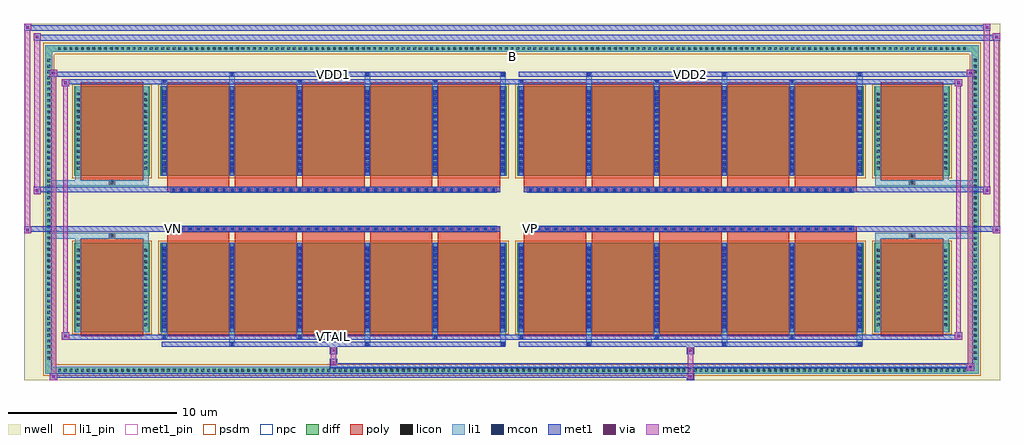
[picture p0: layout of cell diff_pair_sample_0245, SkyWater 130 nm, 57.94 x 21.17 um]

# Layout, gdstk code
import gdstk
lib = gdstk.Library(unit=1e-6, precision=5e-09)
def R(c, l, rs):  # rectangles x0, y0, x1, y1
    for r in rs: c.add(gdstk.rectangle(r[:2], r[2:], *l))
def A(c, l, x, y, w, h, nx, ny, dx, dy):  # array of equal rectangles
    R(c, l, [(x+i*dx, y+j*dy, x+i*dx+w, y+j*dy+h) for i in range(nx) for j in range(ny)])
def P(c, l, *ps):  # polygons
    for p in ps: c.add(gdstk.Polygon(p, *l))
nwell = (64, 20)
diff = (65, 20)
poly = (66, 20)
licon = (66, 44)
li1_pin = (67, 16)
li1 = (67, 20)
mcon = (67, 44)
met1_pin = (68, 16)
met1 = (68, 20)
via = (68, 44)
met2 = (69, 20)
psdm = (94, 20)
npc = (95, 20)

diff_pair_sample_0245 = lib.new_cell('diff_pair_sample_0245')
R(diff_pair_sample_0245, nwell, [(-28.97,-10.15,28.97,11.02), (-26.29,-8.34,-0.01,-0.8), (0.01,-8.34,26.29,-0.8), (-26.29,0.8,-0.01,8.34), (0.01,0.8,26.29,8.34)])
A(diff_pair_sample_0245, diff, -27.065, -9.75, 0.41, 0.41, 159, 2, 0.34, 19.09)
A(diff_pair_sample_0245, diff, -27.7, -9.045, 0.41, 0.41, 1, 53, 0, 0.34)
A(diff_pair_sample_0245, diff, 27.29, -9.045, 0.41, 0.41, 1, 53, 0, 0.34)
R(diff_pair_sample_0245, diff, [(-27.065,-9.75,27.065,-9.34), (-27.7,-9.045,-27.29,9.045), (27.29,-9.045,27.7,9.045), (-25.98,-7.295,-21.51,-1.985), (-20.87,-7.295,-0.32,-1.985), (0.32,-7.295,20.87,-1.985), (21.51,-7.295,25.98,-1.985), (-25.98,1.985,-21.51,7.295), (-20.87,1.985,-0.32,7.295), (0.32,1.985,20.87,7.295), (21.51,1.985,25.98,7.295), (-27.065,9.34,27.065,9.75)])
P(diff_pair_sample_0245, diff, [(27.7,9.75),(-27.7,9.75),(-27.7,-9.34),(-27.29,-9.34),(-27.29,9.34),(27.29,9.34),(27.29,-9.34),(-27.29,-9.34),(-27.7,-9.34),(-27.7,-9.75),(27.7,-9.75)])
A(diff_pair_sample_0245, poly, -20.48, -7.545, 3.69, 5.81, 5, 2, 4.02, 9.28)
A(diff_pair_sample_0245, poly, 0.71, -7.545, 3.69, 5.81, 5, 2, 4.02, 9.28)
A(diff_pair_sample_0245, poly, -20.48, -1.735, 3.69, 0.405, 5, 2, 4.02, 3.065)
A(diff_pair_sample_0245, poly, 0.71, -1.735, 3.69, 0.405, 5, 2, 4.02, 3.065)
A(diff_pair_sample_0245, poly, -20.26, -1.33, 0.33, 0.33, 39, 2, 0.5, 2.33)
A(diff_pair_sample_0245, poly, 0.93, -1.33, 0.33, 0.33, 39, 2, 0.5, 2.33)
R(diff_pair_sample_0245, poly, [(-25.59,-7.545,-21.9,-1.735), (21.9,-7.545,25.59,-1.735), (-23.91,-1.735,-23.58,-1.405), (-23.91,-1.735,-23.58,-1.405), (23.58,-1.735,23.91,-1.405), (23.58,-1.735,23.91,-1.405), (-20.48,-1.33,-0.71,-1), (0.71,-1.33,20.48,-1), (-20.48,1,-0.71,1.33), (0.71,1,20.48,1.33), (-23.91,1.405,-23.58,1.735), (-23.91,1.405,-23.58,1.735), (23.58,1.405,23.91,1.735), (23.58,1.405,23.91,1.735), (-25.59,1.735,-21.9,7.545), (21.9,1.735,25.59,7.545)])
A(diff_pair_sample_0245, licon, -26.945, -9.63, 0.17, 0.17, 159, 2, 0.34, 19.09)
A(diff_pair_sample_0245, licon, -27.58, -8.925, 0.17, 0.17, 1, 53, 0, 0.34)
A(diff_pair_sample_0245, licon, 27.41, -8.925, 0.17, 0.17, 1, 53, 0, 0.34)
A(diff_pair_sample_0245, licon, -25.84, -6.935, 0.17, 0.17, 1, 14, 0, 0.34)
A(diff_pair_sample_0245, licon, -21.82, -6.935, 0.17, 0.17, 1, 14, 0, 0.34)
A(diff_pair_sample_0245, licon, -20.73, -6.935, 0.17, 0.17, 6, 14, 4.02, 0.34)
A(diff_pair_sample_0245, licon, 0.46, -6.935, 0.17, 0.17, 6, 14, 4.02, 0.34)
A(diff_pair_sample_0245, licon, 21.65, -6.935, 0.17, 0.17, 1, 14, 0, 0.34)
A(diff_pair_sample_0245, licon, 25.67, -6.935, 0.17, 0.17, 1, 14, 0, 0.34)
A(diff_pair_sample_0245, licon, -20.18, -1.25, 0.17, 0.17, 39, 2, 0.5, 2.33)
A(diff_pair_sample_0245, licon, 1.01, -1.25, 0.17, 0.17, 39, 2, 0.5, 2.33)
A(diff_pair_sample_0245, licon, -25.84, 2.345, 0.17, 0.17, 1, 14, 0, 0.34)
A(diff_pair_sample_0245, licon, -21.82, 2.345, 0.17, 0.17, 1, 14, 0, 0.34)
A(diff_pair_sample_0245, licon, -20.73, 2.345, 0.17, 0.17, 6, 14, 4.02, 0.34)
A(diff_pair_sample_0245, licon, 0.46, 2.345, 0.17, 0.17, 6, 14, 4.02, 0.34)
A(diff_pair_sample_0245, licon, 21.65, 2.345, 0.17, 0.17, 1, 14, 0, 0.34)
A(diff_pair_sample_0245, licon, 25.67, 2.345, 0.17, 0.17, 1, 14, 0, 0.34)
R(diff_pair_sample_0245, licon, [(-23.83,-1.655,-23.66,-1.485), (23.66,-1.655,23.83,-1.485), (-23.83,1.485,-23.66,1.655), (23.66,1.485,23.83,1.655)])
R(diff_pair_sample_0245, li1_pin, [(-0.25,8.84,0.25,9.34)])
A(diff_pair_sample_0245, li1, -27.025, -9.71, 0.33, 0.33, 159, 2, 0.34, 19.09)
A(diff_pair_sample_0245, li1, -27.66, -9.005, 0.33, 0.33, 1, 53, 0, 0.34)
A(diff_pair_sample_0245, li1, 27.33, -9.005, 0.33, 0.33, 1, 53, 0, 0.34)
A(diff_pair_sample_0245, li1, -16.79, -8.1, 0.33, 0.805, 3, 2, 8.04, 15.395)
A(diff_pair_sample_0245, li1, -16.71, -8.1, 0.17, 0.17, 3, 2, 8.04, 16.03)
A(diff_pair_sample_0245, li1, 4.4, -8.1, 0.33, 0.805, 3, 2, 8.04, 15.395)
A(diff_pair_sample_0245, li1, 4.48, -8.1, 0.17, 0.17, 3, 2, 8.04, 16.03)
A(diff_pair_sample_0245, li1, -20.81, -7.67, 0.33, 0.375, 3, 2, 8.04, 14.965)
A(diff_pair_sample_0245, li1, -20.73, -7.67, 0.17, 0.17, 3, 2, 8.04, 15.17)
A(diff_pair_sample_0245, li1, 0.38, -7.67, 0.33, 0.375, 3, 2, 8.04, 14.965)
A(diff_pair_sample_0245, li1, 0.46, -7.67, 0.17, 0.17, 3, 2, 8.04, 15.17)
A(diff_pair_sample_0245, li1, -20.81, -7.295, 0.33, 5.31, 6, 2, 4.02, 9.28)
A(diff_pair_sample_0245, li1, 0.38, -7.295, 0.33, 5.31, 6, 2, 4.02, 9.28)
A(diff_pair_sample_0245, li1, -20.73, -7.065, 0.17, 0.17, 6, 14, 4.02, 0.36)
A(diff_pair_sample_0245, li1, -20.73, -7.065, 0.17, 4.85, 6, 2, 4.02, 9.28)
A(diff_pair_sample_0245, li1, 0.46, -7.065, 0.17, 0.17, 6, 14, 4.02, 0.36)
A(diff_pair_sample_0245, li1, 0.46, -7.065, 0.17, 4.85, 6, 2, 4.02, 9.28)
A(diff_pair_sample_0245, li1, -25.92, -7.015, 0.33, 0.33, 1, 14, 0, 0.34)
A(diff_pair_sample_0245, li1, -21.9, -7.015, 0.33, 0.33, 1, 14, 0, 0.34)
A(diff_pair_sample_0245, li1, -20.81, -7.015, 0.33, 0.33, 6, 14, 4.02, 0.34)
A(diff_pair_sample_0245, li1, 0.38, -7.015, 0.33, 0.33, 6, 14, 4.02, 0.34)
A(diff_pair_sample_0245, li1, 21.57, -7.015, 0.33, 0.33, 1, 14, 0, 0.34)
A(diff_pair_sample_0245, li1, 25.59, -7.015, 0.33, 0.33, 1, 14, 0, 0.34)
A(diff_pair_sample_0245, li1, -20.26, -1.33, 0.33, 0.33, 39, 2, 0.5, 2.33)
A(diff_pair_sample_0245, li1, 0.93, -1.33, 0.33, 0.33, 39, 2, 0.5, 2.33)
A(diff_pair_sample_0245, li1, -20.73, 2.215, 0.17, 0.17, 6, 14, 4.02, 0.36)
A(diff_pair_sample_0245, li1, 0.46, 2.215, 0.17, 0.17, 6, 14, 4.02, 0.36)
A(diff_pair_sample_0245, li1, -25.92, 2.265, 0.33, 0.33, 1, 14, 0, 0.34)
A(diff_pair_sample_0245, li1, -21.9, 2.265, 0.33, 0.33, 1, 14, 0, 0.34)
A(diff_pair_sample_0245, li1, -20.81, 2.265, 0.33, 0.33, 6, 14, 4.02, 0.34)
A(diff_pair_sample_0245, li1, 0.38, 2.265, 0.33, 0.33, 6, 14, 4.02, 0.34)
A(diff_pair_sample_0245, li1, 21.57, 2.265, 0.33, 0.33, 1, 14, 0, 0.34)
A(diff_pair_sample_0245, li1, 25.59, 2.265, 0.33, 0.33, 1, 14, 0, 0.34)
R(diff_pair_sample_0245, li1, [(-27.7,-9.75,-27.29,-9.34), (-27.7,-9.75,-27.29,-9.34), (-27.29,-9.75,27.29,-9.34), (27.29,-9.75,27.7,-9.34), (27.29,-9.75,27.7,-9.34), (-27.7,-9.34,-27.29,9.34), (27.29,-9.34,27.7,9.34), (-25.92,-7.295,-25.59,-1.985), (-21.9,-7.295,-21.57,-1.985), (21.57,-7.295,21.9,-1.985), (25.59,-7.295,25.92,-1.985), (-25.92,-1.985,-25.59,-1.405), (-21.9,-1.985,-21.57,-1.405), (21.57,-1.985,21.9,-1.405), (25.59,-1.985,25.92,-1.405), (-27.7,-1.735,-23.91,-1.405), (-25.92,-1.735,-23.91,-1.405), (-23.91,-1.735,-23.58,-1.405), (-23.58,-1.735,-21.57,-1.405), (21.57,-1.735,23.58,-1.405), (23.58,-1.735,23.91,-1.405), (23.58,-1.735,27.7,-1.405), (23.91,-1.735,25.92,-1.405), (-27.7,1.405,-23.91,1.735), (-25.92,1.405,-23.91,1.735), (-25.92,1.405,-25.59,1.985), (-23.91,1.405,-23.58,1.735), (-23.58,1.405,-21.57,1.735), (-21.9,1.405,-21.57,1.985), (21.57,1.405,23.58,1.735), (21.57,1.405,21.9,1.985), (23.58,1.405,23.91,1.735), (23.58,1.405,27.7,1.735), (23.91,1.405,25.92,1.735), (25.59,1.405,25.92,1.985), (-25.92,1.985,-25.59,7.295), (-21.9,1.985,-21.57,7.295), (21.57,1.985,21.9,7.295), (25.59,1.985,25.92,7.295), (-27.7,9.34,-27.29,9.75), (-27.7,9.34,-27.29,9.75), (-27.29,9.34,27.29,9.75), (27.29,9.34,27.7,9.75), (27.29,9.34,27.7,9.75)])
A(diff_pair_sample_0245, mcon, -16.71, -8.1, 0.17, 0.17, 3, 2, 8.04, 16.03)
A(diff_pair_sample_0245, mcon, 4.48, -8.1, 0.17, 0.17, 3, 2, 8.04, 16.03)
A(diff_pair_sample_0245, mcon, -20.73, -7.67, 0.17, 0.17, 3, 2, 8.04, 15.17)
A(diff_pair_sample_0245, mcon, 0.46, -7.67, 0.17, 0.17, 3, 2, 8.04, 15.17)
A(diff_pair_sample_0245, mcon, -20.73, -7.065, 0.17, 0.17, 6, 14, 4.02, 0.36)
A(diff_pair_sample_0245, mcon, 0.46, -7.065, 0.17, 0.17, 6, 14, 4.02, 0.36)
A(diff_pair_sample_0245, mcon, -20.18, -1.25, 0.17, 0.17, 39, 2, 0.5, 2.33)
A(diff_pair_sample_0245, mcon, 1.01, -1.25, 0.17, 0.17, 39, 2, 0.5, 2.33)
A(diff_pair_sample_0245, mcon, -20.73, 2.215, 0.17, 0.17, 6, 14, 4.02, 0.36)
A(diff_pair_sample_0245, mcon, 0.46, 2.215, 0.17, 0.17, 6, 14, 4.02, 0.36)
R(diff_pair_sample_0245, met1_pin, [(-10.73,-7.71,-10.46,-7.44), (-20.23,-1.29,-19.96,-1.02), (0.96,-1.29,1.23,-1.02), (-10.73,7.89,-10.46,8.16), (10.46,7.89,10.73,8.16)])
A(diff_pair_sample_0245, met1, -16.77, -8.16, 0.29, 0.29, 3, 2, 8.04, 16.03)
A(diff_pair_sample_0245, met1, 4.42, -8.16, 0.29, 0.29, 3, 2, 8.04, 16.03)
A(diff_pair_sample_0245, met1, -20.79, -7.73, 0.29, 0.29, 3, 2, 8.04, 15.17)
A(diff_pair_sample_0245, met1, 0.4, -7.73, 0.29, 0.29, 3, 2, 8.04, 15.17)
A(diff_pair_sample_0245, met1, -20.79, -7.295, 0.29, 5.31, 6, 2, 4.02, 9.28)
A(diff_pair_sample_0245, met1, 0.4, -7.295, 0.29, 5.31, 6, 2, 4.02, 9.28)
A(diff_pair_sample_0245, met1, -20.79, -7.125, 0.29, 0.29, 6, 14, 4.02, 0.36)
A(diff_pair_sample_0245, met1, 0.4, -7.125, 0.29, 0.29, 6, 14, 4.02, 0.36)
A(diff_pair_sample_0245, met1, -20.24, -1.31, 0.29, 0.29, 39, 2, 0.5, 2.33)
A(diff_pair_sample_0245, met1, 0.95, -1.31, 0.29, 0.29, 39, 2, 0.5, 2.33)
A(diff_pair_sample_0245, met1, -20.79, 2.155, 0.29, 0.29, 6, 14, 4.02, 0.36)
A(diff_pair_sample_0245, met1, 0.4, 2.155, 0.29, 0.29, 6, 14, 4.02, 0.36)
R(diff_pair_sample_0245, met1, [(-27.43,-10.15,-27,-9.72), (10.38,-10.15,10.81,-9.72), (-27.43,-10.01,10.81,-9.72), (27,-9.58,27.43,-9.15), (-10.81,-9.44,27.43,-9.15), (-10.81,-9.3,-10.38,-8.87), (-10.81,-8.59,-10.38,-8.16), (10.38,-8.59,10.81,-8.16), (-20.79,-8.16,-0.4,-7.87), (0.4,-8.16,20.79,-7.87), (-26.72,-7.73,-26.29,-7.3), (-26.72,-7.73,-20.79,-7.44), (-20.79,-7.73,-0.4,-7.44), (-0.4,-7.73,0.4,-7.44), (0.4,-7.73,20.79,-7.44), (20.79,-7.73,26.72,-7.44), (26.29,-7.73,26.72,-7.3), (-28.97,-1.43,-28.54,-1), (28.54,-1.43,28.97,-1), (-28.97,-1.33,-0.71,-1), (-20.48,-1.33,-0.71,-1), (0.71,-1.33,20.48,-1), (0.71,-1.33,28.97,-1), (-28.4,0.9,-27.97,1.33), (27.97,0.9,28.4,1.33), (-28.4,1,-20.48,1.33), (-20.48,1,-0.71,1.33), (0.71,1,20.48,1.33), (20.48,1,28.4,1.33), (-26.72,7.3,-26.29,7.73), (26.29,7.3,26.72,7.73), (-26.72,7.44,-20.79,7.73), (-20.79,7.44,-0.4,7.73), (-0.4,7.44,0.4,7.73), (0.4,7.44,20.79,7.73), (20.79,7.44,26.72,7.73), (-27.43,7.87,-27,8.3), (-27.43,7.87,-20.79,8.16), (-20.79,7.87,-0.4,8.16), (0.4,7.87,20.79,8.16), (20.79,7.87,27.43,8.16), (27,7.87,27.43,8.3), (-28.4,10.02,-27.97,10.45), (-28.4,10.02,-26.29,10.35), (-26.29,10.02,26.29,10.35), (26.29,10.02,28.97,10.35), (28.54,10.02,28.97,10.45), (-28.97,10.59,-28.54,11.02), (-28.97,10.59,-26.29,10.92), (-26.29,10.59,26.29,10.92), (26.29,10.59,28.4,10.92), (27.97,10.59,28.4,11.02)])
R(diff_pair_sample_0245, via, [(-27.29,-10.01,-27.14,-9.86), (10.52,-10.01,10.67,-9.86), (27.14,-9.44,27.29,-9.29), (-10.67,-9.16,-10.52,-9.01), (-10.67,-8.45,-10.52,-8.3), (10.52,-8.45,10.67,-8.3), (-26.58,-7.59,-26.43,-7.44), (26.43,-7.59,26.58,-7.44), (-28.83,-1.29,-28.68,-1.14), (28.68,-1.29,28.83,-1.14), (-28.26,1.04,-28.11,1.19), (28.11,1.04,28.26,1.19), (-26.58,7.44,-26.43,7.59), (26.43,7.44,26.58,7.59), (-27.29,8.01,-27.14,8.16), (27.14,8.01,27.29,8.16), (-28.26,10.16,-28.11,10.31), (28.68,10.16,28.83,10.31), (-28.83,10.73,-28.68,10.88), (28.11,10.73,28.26,10.88)])
R(diff_pair_sample_0245, met2, [(-27.43,-10.15,-27,-9.72), (-27.36,-10.15,-27.07,8.3), (-27.07,-10.15,-27,-9.72), (-27.38,-10.1,-27.05,-9.77), (10.43,-10.1,10.76,-9.77), (10.43,-9.77,10.76,-8.54), (27,-9.58,27.43,-9.15), (27.07,-9.58,27.36,8.3), (27.36,-9.58,27.43,-9.15), (27.05,-9.53,27.38,-9.2), (-10.76,-9.25,-10.43,-8.92), (-10.76,-8.92,-10.43,-8.54), (-10.76,-8.54,-10.43,-8.21), (10.43,-8.54,10.76,-8.21), (-26.72,-7.73,-26.29,-7.3), (-26.65,-7.73,-26.36,7.73), (-26.36,-7.73,-26.29,-7.3), (26.29,-7.73,26.72,-7.3), (26.36,-7.73,26.65,7.73), (26.65,-7.73,26.72,-7.3), (-26.67,-7.68,-26.34,-7.35), (26.34,-7.68,26.67,-7.35), (-28.97,-1.43,-28.54,-1), (-28.92,-1.43,-28.59,11.02), (-28.59,-1.43,-28.54,-1), (28.54,-1.43,28.97,-1), (28.59,-1.43,28.92,10.45), (28.92,-1.43,28.97,-1), (-28.92,-1.38,-28.59,-1.05), (28.59,-1.38,28.92,-1.05), (-28.4,0.9,-27.97,1.33), (-28.35,0.9,-28.02,10.45), (-28.02,0.9,-27.97,1.33), (27.97,0.9,28.4,1.33), (28.02,0.9,28.35,11.02), (28.35,0.9,28.4,1.33), (-28.35,0.95,-28.02,1.28), (28.02,0.95,28.35,1.28), (-26.72,7.3,-26.29,7.73), (-26.36,7.3,-26.29,7.73), (26.29,7.3,26.72,7.73), (26.65,7.3,26.72,7.73), (-26.67,7.35,-26.34,7.68), (26.34,7.35,26.67,7.68), (-27.43,7.87,-27,8.3), (-27.07,7.87,-27,8.3), (27,7.87,27.43,8.3), (27.36,7.87,27.43,8.3), (-27.38,7.92,-27.05,8.25), (27.05,7.92,27.38,8.25), (-28.4,10.02,-27.97,10.45), (-28.02,10.02,-27.97,10.45), (28.54,10.02,28.97,10.45), (28.92,10.02,28.97,10.45), (-28.35,10.07,-28.02,10.4), (28.59,10.07,28.92,10.4), (-28.97,10.59,-28.54,11.02), (-28.59,10.59,-28.54,11.02), (27.97,10.59,28.4,11.02), (28.35,10.59,28.4,11.02), (-28.92,10.64,-28.59,10.97), (28.02,10.64,28.35,10.97)])
R(diff_pair_sample_0245, psdm, [(-26.11,-7.425,-21.38,-1.855), (-21,-7.425,-0.19,-1.855), (0.19,-7.425,21,-1.855), (21.38,-7.425,26.11,-1.855), (-26.11,1.855,-21.38,7.425), (-21,1.855,-0.19,7.425), (0.19,1.855,21,7.425), (21.38,1.855,26.11,7.425)])
P(diff_pair_sample_0245, psdm, [(27.83,9.88),(-27.83,9.88),(-27.83,-9.21),(-27.16,-9.21),(-27.16,9.21),(27.16,9.21),(27.16,-9.21),(-27.16,-9.21),(-27.83,-9.21),(-27.83,-9.88),(27.83,-9.88)])
A(diff_pair_sample_0245, npc, -20.28, -1.35, 0.37, 0.37, 39, 2, 0.5, 2.33)
A(diff_pair_sample_0245, npc, 0.91, -1.35, 0.37, 0.37, 39, 2, 0.5, 2.33)
R(diff_pair_sample_0245, npc, [(-23.93,-1.755,-23.56,-1.385), (23.56,-1.755,23.93,-1.385), (-20.28,-1.35,-19.41,-0.98), (-20.28,-1.35,-19.41,-0.98), (-19.78,-1.35,-18.91,-0.98), (-19.78,-1.35,-18.91,-0.98), (-19.28,-1.35,-18.41,-0.98), (-19.28,-1.35,-18.41,-0.98), (-18.78,-1.35,-17.91,-0.98), (-18.78,-1.35,-17.91,-0.98), (-18.28,-1.35,-17.41,-0.98), (-18.28,-1.35,-17.41,-0.98), (-17.78,-1.35,-16.91,-0.98), (-17.78,-1.35,-16.91,-0.98), (-17.28,-1.35,-16.41,-0.98), (-17.28,-1.35,-16.41,-0.98), (-16.78,-1.35,-15.91,-0.98), (-16.78,-1.35,-15.91,-0.98), (-16.28,-1.35,-15.41,-0.98), (-16.28,-1.35,-15.41,-0.98), (-15.78,-1.35,-14.91,-0.98), (-15.78,-1.35,-14.91,-0.98), (-15.28,-1.35,-14.41,-0.98), (-15.28,-1.35,-14.41,-0.98), (-14.78,-1.35,-13.91,-0.98), (-14.78,-1.35,-13.91,-0.98), (-14.28,-1.35,-13.41,-0.98), (-14.28,-1.35,-13.41,-0.98), (-13.78,-1.35,-12.91,-0.98), (-13.78,-1.35,-12.91,-0.98), (-13.28,-1.35,-12.41,-0.98), (-13.28,-1.35,-12.41,-0.98), (-12.78,-1.35,-11.91,-0.98), (-12.78,-1.35,-11.91,-0.98), (-12.28,-1.35,-11.41,-0.98), (-12.28,-1.35,-11.41,-0.98), (-11.78,-1.35,-10.91,-0.98), (-11.78,-1.35,-10.91,-0.98), (-11.28,-1.35,-10.41,-0.98), (-11.28,-1.35,-10.41,-0.98), (-10.78,-1.35,-9.91,-0.98), (-10.78,-1.35,-9.91,-0.98), (-10.28,-1.35,-9.41,-0.98), (-10.28,-1.35,-9.41,-0.98), (-9.78,-1.35,-8.91,-0.98), (-9.78,-1.35,-8.91,-0.98), (-9.28,-1.35,-8.41,-0.98), (-9.28,-1.35,-8.41,-0.98), (-8.78,-1.35,-7.91,-0.98), (-8.78,-1.35,-7.91,-0.98), (-8.28,-1.35,-7.41,-0.98), (-8.28,-1.35,-7.41,-0.98), (-7.78,-1.35,-6.91,-0.98), (-7.78,-1.35,-6.91,-0.98), (-7.28,-1.35,-6.41,-0.98), (-7.28,-1.35,-6.41,-0.98), (-6.78,-1.35,-5.91,-0.98), (-6.78,-1.35,-5.91,-0.98), (-6.28,-1.35,-5.41,-0.98), (-6.28,-1.35,-5.41,-0.98), (-5.78,-1.35,-4.91,-0.98), (-5.78,-1.35,-4.91,-0.98), (-5.28,-1.35,-4.41,-0.98), (-5.28,-1.35,-4.41,-0.98), (-4.78,-1.35,-3.91,-0.98), (-4.78,-1.35,-3.91,-0.98), (-4.28,-1.35,-3.41,-0.98), (-4.28,-1.35,-3.41,-0.98), (-3.78,-1.35,-2.91,-0.98), (-3.78,-1.35,-2.91,-0.98), (-3.28,-1.35,-2.41,-0.98), (-3.28,-1.35,-2.41,-0.98), (-2.78,-1.35,-1.91,-0.98), (-2.78,-1.35,-1.91,-0.98), (-2.28,-1.35,-1.41,-0.98), (-2.28,-1.35,-1.41,-0.98), (-1.78,-1.35,-0.91,-0.98), (-1.78,-1.35,-0.91,-0.98), (0.91,-1.35,1.78,-0.98), (0.91,-1.35,1.78,-0.98), (1.41,-1.35,2.28,-0.98), (1.41,-1.35,2.28,-0.98), (1.91,-1.35,2.78,-0.98), (1.91,-1.35,2.78,-0.98), (2.41,-1.35,3.28,-0.98), (2.41,-1.35,3.28,-0.98), (2.91,-1.35,3.78,-0.98), (2.91,-1.35,3.78,-0.98), (3.41,-1.35,4.28,-0.98), (3.41,-1.35,4.28,-0.98), (3.91,-1.35,4.78,-0.98), (3.91,-1.35,4.78,-0.98), (4.41,-1.35,5.28,-0.98), (4.41,-1.35,5.28,-0.98), (4.91,-1.35,5.78,-0.98), (4.91,-1.35,5.78,-0.98), (5.41,-1.35,6.28,-0.98), (5.41,-1.35,6.28,-0.98), (5.91,-1.35,6.78,-0.98), (5.91,-1.35,6.78,-0.98), (6.41,-1.35,7.28,-0.98), (6.41,-1.35,7.28,-0.98), (6.91,-1.35,7.78,-0.98), (6.91,-1.35,7.78,-0.98), (7.41,-1.35,8.28,-0.98), (7.41,-1.35,8.28,-0.98), (7.91,-1.35,8.78,-0.98), (7.91,-1.35,8.78,-0.98), (8.41,-1.35,9.28,-0.98), (8.41,-1.35,9.28,-0.98), (8.91,-1.35,9.78,-0.98), (8.91,-1.35,9.78,-0.98), (9.41,-1.35,10.28,-0.98), (9.41,-1.35,10.28,-0.98), (9.91,-1.35,10.78,-0.98), (9.91,-1.35,10.78,-0.98), (10.41,-1.35,11.28,-0.98), (10.41,-1.35,11.28,-0.98), (10.91,-1.35,11.78,-0.98), (10.91,-1.35,11.78,-0.98), (11.41,-1.35,12.28,-0.98), (11.41,-1.35,12.28,-0.98), (11.91,-1.35,12.78,-0.98), (11.91,-1.35,12.78,-0.98), (12.41,-1.35,13.28,-0.98), (12.41,-1.35,13.28,-0.98), (12.91,-1.35,13.78,-0.98), (12.91,-1.35,13.78,-0.98), (13.41,-1.35,14.28,-0.98), (13.41,-1.35,14.28,-0.98), (13.91,-1.35,14.78,-0.98), (13.91,-1.35,14.78,-0.98), (14.41,-1.35,15.28,-0.98), (14.41,-1.35,15.28,-0.98), (14.91,-1.35,15.78,-0.98), (14.91,-1.35,15.78,-0.98), (15.41,-1.35,16.28,-0.98), (15.41,-1.35,16.28,-0.98), (15.91,-1.35,16.78,-0.98), (15.91,-1.35,16.78,-0.98), (16.41,-1.35,17.28,-0.98), (16.41,-1.35,17.28,-0.98), (16.91,-1.35,17.78,-0.98), (16.91,-1.35,17.78,-0.98), (17.41,-1.35,18.28,-0.98), (17.41,-1.35,18.28,-0.98), (17.91,-1.35,18.78,-0.98), (17.91,-1.35,18.78,-0.98), (18.41,-1.35,19.28,-0.98), (18.41,-1.35,19.28,-0.98), (18.91,-1.35,19.78,-0.98), (18.91,-1.35,19.78,-0.98), (19.41,-1.35,20.28,-0.98), (19.41,-1.35,20.28,-0.98), (-20.28,0.98,-19.41,1.35), (-20.28,0.98,-19.41,1.35), (-19.78,0.98,-18.91,1.35), (-19.78,0.98,-18.91,1.35), (-19.28,0.98,-18.41,1.35), (-19.28,0.98,-18.41,1.35), (-18.78,0.98,-17.91,1.35), (-18.78,0.98,-17.91,1.35), (-18.28,0.98,-17.41,1.35), (-18.28,0.98,-17.41,1.35), (-17.78,0.98,-16.91,1.35), (-17.78,0.98,-16.91,1.35), (-17.28,0.98,-16.41,1.35), (-17.28,0.98,-16.41,1.35), (-16.78,0.98,-15.91,1.35), (-16.78,0.98,-15.91,1.35), (-16.28,0.98,-15.41,1.35), (-16.28,0.98,-15.41,1.35), (-15.78,0.98,-14.91,1.35), (-15.78,0.98,-14.91,1.35), (-15.28,0.98,-14.41,1.35), (-15.28,0.98,-14.41,1.35), (-14.78,0.98,-13.91,1.35), (-14.78,0.98,-13.91,1.35), (-14.28,0.98,-13.41,1.35), (-14.28,0.98,-13.41,1.35), (-13.78,0.98,-12.91,1.35), (-13.78,0.98,-12.91,1.35), (-13.28,0.98,-12.41,1.35), (-13.28,0.98,-12.41,1.35), (-12.78,0.98,-11.91,1.35), (-12.78,0.98,-11.91,1.35), (-12.28,0.98,-11.41,1.35), (-12.28,0.98,-11.41,1.35), (-11.78,0.98,-10.91,1.35), (-11.78,0.98,-10.91,1.35), (-11.28,0.98,-10.41,1.35), (-11.28,0.98,-10.41,1.35), (-10.78,0.98,-9.91,1.35), (-10.78,0.98,-9.91,1.35), (-10.28,0.98,-9.41,1.35), (-10.28,0.98,-9.41,1.35), (-9.78,0.98,-8.91,1.35), (-9.78,0.98,-8.91,1.35), (-9.28,0.98,-8.41,1.35), (-9.28,0.98,-8.41,1.35), (-8.78,0.98,-7.91,1.35), (-8.78,0.98,-7.91,1.35), (-8.28,0.98,-7.41,1.35), (-8.28,0.98,-7.41,1.35), (-7.78,0.98,-6.91,1.35), (-7.78,0.98,-6.91,1.35), (-7.28,0.98,-6.41,1.35), (-7.28,0.98,-6.41,1.35), (-6.78,0.98,-5.91,1.35), (-6.78,0.98,-5.91,1.35), (-6.28,0.98,-5.41,1.35), (-6.28,0.98,-5.41,1.35), (-5.78,0.98,-4.91,1.35), (-5.78,0.98,-4.91,1.35), (-5.28,0.98,-4.41,1.35), (-5.28,0.98,-4.41,1.35), (-4.78,0.98,-3.91,1.35), (-4.78,0.98,-3.91,1.35), (-4.28,0.98,-3.41,1.35), (-4.28,0.98,-3.41,1.35), (-3.78,0.98,-2.91,1.35), (-3.78,0.98,-2.91,1.35), (-3.28,0.98,-2.41,1.35), (-3.28,0.98,-2.41,1.35), (-2.78,0.98,-1.91,1.35), (-2.78,0.98,-1.91,1.35), (-2.28,0.98,-1.41,1.35), (-2.28,0.98,-1.41,1.35), (-1.78,0.98,-0.91,1.35), (-1.78,0.98,-0.91,1.35), (0.91,0.98,1.78,1.35), (0.91,0.98,1.78,1.35), (1.41,0.98,2.28,1.35), (1.41,0.98,2.28,1.35), (1.91,0.98,2.78,1.35), (1.91,0.98,2.78,1.35), (2.41,0.98,3.28,1.35), (2.41,0.98,3.28,1.35), (2.91,0.98,3.78,1.35), (2.91,0.98,3.78,1.35), (3.41,0.98,4.28,1.35), (3.41,0.98,4.28,1.35), (3.91,0.98,4.78,1.35), (3.91,0.98,4.78,1.35), (4.41,0.98,5.28,1.35), (4.41,0.98,5.28,1.35), (4.91,0.98,5.78,1.35), (4.91,0.98,5.78,1.35), (5.41,0.98,6.28,1.35), (5.41,0.98,6.28,1.35), (5.91,0.98,6.78,1.35), (5.91,0.98,6.78,1.35), (6.41,0.98,7.28,1.35), (6.41,0.98,7.28,1.35), (6.91,0.98,7.78,1.35), (6.91,0.98,7.78,1.35), (7.41,0.98,8.28,1.35), (7.41,0.98,8.28,1.35), (7.91,0.98,8.78,1.35), (7.91,0.98,8.78,1.35), (8.41,0.98,9.28,1.35), (8.41,0.98,9.28,1.35), (8.91,0.98,9.78,1.35), (8.91,0.98,9.78,1.35), (9.41,0.98,10.28,1.35), (9.41,0.98,10.28,1.35), (9.91,0.98,10.78,1.35), (9.91,0.98,10.78,1.35), (10.41,0.98,11.28,1.35), (10.41,0.98,11.28,1.35), (10.91,0.98,11.78,1.35), (10.91,0.98,11.78,1.35), (11.41,0.98,12.28,1.35), (11.41,0.98,12.28,1.35), (11.91,0.98,12.78,1.35), (11.91,0.98,12.78,1.35), (12.41,0.98,13.28,1.35), (12.41,0.98,13.28,1.35), (12.91,0.98,13.78,1.35), (12.91,0.98,13.78,1.35), (13.41,0.98,14.28,1.35), (13.41,0.98,14.28,1.35), (13.91,0.98,14.78,1.35), (13.91,0.98,14.78,1.35), (14.41,0.98,15.28,1.35), (14.41,0.98,15.28,1.35), (14.91,0.98,15.78,1.35), (14.91,0.98,15.78,1.35), (15.41,0.98,16.28,1.35), (15.41,0.98,16.28,1.35), (15.91,0.98,16.78,1.35), (15.91,0.98,16.78,1.35), (16.41,0.98,17.28,1.35), (16.41,0.98,17.28,1.35), (16.91,0.98,17.78,1.35), (16.91,0.98,17.78,1.35), (17.41,0.98,18.28,1.35), (17.41,0.98,18.28,1.35), (17.91,0.98,18.78,1.35), (17.91,0.98,18.78,1.35), (18.41,0.98,19.28,1.35), (18.41,0.98,19.28,1.35), (18.91,0.98,19.78,1.35), (18.91,0.98,19.78,1.35), (19.41,0.98,20.28,1.35), (19.41,0.98,20.28,1.35), (-23.93,1.385,-23.56,1.755), (23.56,1.385,23.93,1.755)])
diff_pair_sample_0245.add(gdstk.Label('VTAIL', (-10.595,-7.575), layer=68, texttype=5))
diff_pair_sample_0245.add(gdstk.Label('VN', (-20.095,-1.155), layer=68, texttype=5))
diff_pair_sample_0245.add(gdstk.Label('VP', (1.095,-1.155), layer=68, texttype=5))
diff_pair_sample_0245.add(gdstk.Label('B', (0,9.09), layer=67, texttype=5))
diff_pair_sample_0245.add(gdstk.Label('VDD2', (10.595,8.025), layer=68, texttype=5))
diff_pair_sample_0245.add(gdstk.Label('VDD1', (-10.595,8.025), layer=68, texttype=5))

lib.write_gds('diff_pair_sample_0245.gds')
